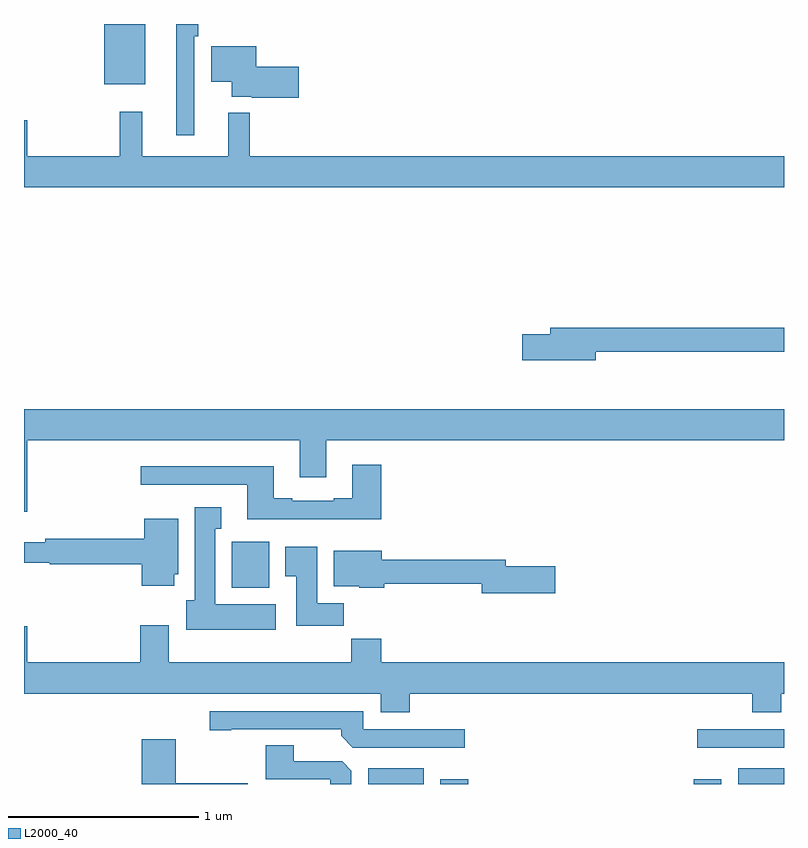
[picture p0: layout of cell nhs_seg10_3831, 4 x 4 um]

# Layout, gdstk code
import gdstk
lib = gdstk.Library(unit=1e-6, precision=1e-09)
def R(c, l, rs):  # rectangles x0, y0, x1, y1
    for r in rs: c.add(gdstk.rectangle(r[:2], r[2:], *l))
def P(c, l, *ps):  # polygons
    for p in ps: c.add(gdstk.Polygon(p, *l))
L2000_40 = (2000, 40)

nhs_seg10_3831 = lib.new_cell('nhs_seg10_3831')
R(nhs_seg10_3831, L2000_40, [(322.811,1306.5,323.104,1306.582), (323.192,1306.5,323.339,1306.525), (324.524,1306.5,324.67,1306.525), (324.758,1306.5,325,1306.582), (324.543,1306.692,325,1306.788), (322.094,1307.534,322.291,1307.776), (321.422,1310.183,321.637,1310.5)])
P(nhs_seg10_3831, L2000_40, [(321.897,1310.435),(321.917,1310.435),(321.917,1310.5),(321.8,1310.5),(321.8,1309.914),(321.897,1309.914)],
  [(322.447,1310.275),(322.222,1310.275),(322.222,1310.383),(321.986,1310.383),(321.986,1310.195),(322.094,1310.195),(322.094,1310.117),(322.198,1310.117),(322.198,1310.112),(322.447,1310.112)],
  [(325,1309.804),(322.188,1309.804),(322.188,1310.032),(322.076,1310.032),(322.076,1309.804),(321.623,1309.804),(321.623,1310.038),(321.505,1310.038),(321.505,1309.804),(321.016,1309.804),(321.016,1309.993),(321,1309.993),(321,1309.64),(325,1309.64)],
  [(324.01,1308.774),(325,1308.774),(325,1308.902),(323.771,1308.902),(323.771,1308.866),(323.622,1308.866),(323.622,1308.731),(324.01,1308.731)],
  [(321.016,1308.308),(322.451,1308.308),(322.451,1308.114),(322.591,1308.114),(322.591,1308.308),(325,1308.308),(325,1308.472),(321,1308.472),(321,1307.934),(321.016,1307.934)],
  [(322.88,1308.181),(322.727,1308.181),(322.727,1308.004),(322.631,1308.004),(322.631,1307.991),(322.411,1307.991),(322.411,1308.004),(322.315,1308.004),(322.315,1308.172),(321.615,1308.172),(321.615,1308.075),(322.175,1308.075),(322.175,1307.894),(322.88,1307.894)],
  [(322.324,1307.446),(322.006,1307.446),(322.006,1307.843),(322.039,1307.843),(322.039,1307.956),(321.899,1307.956),(321.899,1307.466),(321.854,1307.466),(321.854,1307.312),(322.324,1307.312)],
  [(321.79,1307.604),(321.811,1307.604),(321.811,1307.896),(321.632,1307.896),(321.632,1307.792),(321.112,1307.792),(321.112,1307.773),(321,1307.773),(321,1307.664),(321.136,1307.664),(321.136,1307.656),(321.62,1307.656),(321.62,1307.544),(321.79,1307.544)],
  [(322.682,1307.452),(322.543,1307.452),(322.543,1307.749),(322.376,1307.749),(322.376,1307.593),(322.433,1307.593),(322.433,1307.334),(322.682,1307.334)],
  [(323.797,1307.645),(323.536,1307.645),(323.536,1307.681),(322.882,1307.681),(322.882,1307.728),(322.631,1307.728),(322.631,1307.54),(322.764,1307.54),(322.764,1307.534),(322.895,1307.534),(322.895,1307.553),(323.408,1307.553),(323.408,1307.503),(323.797,1307.503)],
  [(323.03,1306.976),(324.833,1306.976),(324.833,1306.877),(324.985,1306.877),(324.985,1306.976),(325,1306.976),(325,1307.14),(322.88,1307.14),(322.88,1307.264),(322.723,1307.264),(322.723,1307.14),(321.763,1307.14),(321.763,1307.335),(321.611,1307.335),(321.611,1307.14),(321.016,1307.14),(321.016,1307.329),(321,1307.329),(321,1306.976),(322.877,1306.976),(322.877,1306.877),(323.03,1306.877)],
  [(323.32,1306.788),(322.785,1306.788),(322.785,1306.884),(321.978,1306.884),(321.978,1306.783),(322.09,1306.783),(322.09,1306.788),(322.67,1306.788),(322.67,1306.754),(322.731,1306.692),(323.32,1306.692)],
  [(322.177,1306.504),(321.798,1306.504),(321.798,1306.735),(321.62,1306.735),(321.62,1306.5),(322.177,1306.5)],
  [(322.723,1306.571),(322.674,1306.62),(322.42,1306.62),(322.42,1306.703),(322.273,1306.703),(322.273,1306.524),(322.611,1306.524),(322.611,1306.5),(322.723,1306.5)])

lib.write_gds('nhs_seg10_3831.gds')
